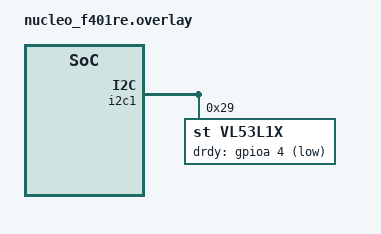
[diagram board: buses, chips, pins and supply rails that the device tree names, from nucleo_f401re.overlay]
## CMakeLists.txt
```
# SPDX-License-Identifier: Apache-2.0

cmake_minimum_required(VERSION 3.13.1)
include($ENV{ZEPHYR_BASE}/cmake/app/boilerplate.cmake NO_POLICY_SCOPE)
project(vl53l1x)

FILE(GLOB app_sources src/*.c)
target_sources(app PRIVATE ${app_sources})
```

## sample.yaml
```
sample:
  name: Sample for MEMS sensors VL53L1X
tests:
  sample.sensor.vl53l1x:
    build_only: true
    depends_on: i2c vl53l1x
    tags: sensors
```

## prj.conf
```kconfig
CONFIG_I2C=y
CONFIG_GPIO=y
CONFIG_SENSOR=y
CONFIG_VL53L1X=y
CONFIG_VL53L1X_PROXIMITY_THRESHOLD=100
#CONFIG_VL53L1X_XSHUT_CONTROL_ENABLE=y
#CONFIG_VL53L1X_TRIGGER_NONE=y
CONFIG_VL53L1X_TRIGGER_OWN_THREAD=y
#CONFIG_VL53L1X_TRIGGER_GLOBAL_THREAD=n


#debug
#CONFIG_DEBUG=y
#CONFIG_LOG=y
#CONFIG_SENSOR_LOG_LEVEL_DBG=y
```

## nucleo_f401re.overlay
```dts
/*
 * Copyright (c) 2019 Peter Bigot Consulting, LLC
 *
 * SPDX-License-Identifier: Apache-2.0
 */

&i2c1 { /* SDA CN5.9=PB9, SCL CN5.10=PB8, INT CN8.3=A2=PA4 */
	vl53l1x@29 {
		compatible = "st,vl53l1x";
		reg = <0x29>;
		label = "VL53L1X";
		drdy-gpios = <&gpioa 4 GPIO_INT_ACTIVE_LOW>;
	};
};
```

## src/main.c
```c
/*
 * Copyright (c) 2017 STMicroelectronics
 *
 * SPDX-License-Identifier: Apache-2.0
 */

#include <zephyr.h>
#include <device.h>
#include <sensor.h>
#include <misc/printk.h>

static void process_sample(struct device *dev)
{
	int ret;
	struct sensor_value value;

	ret = sensor_sample_fetch(dev);

	if (ret) {
		printk("sensor_sample_fetch failed ret %d\n", ret);
		return;
	}

	ret = sensor_channel_get(dev, SENSOR_CHAN_PROX, &value);
	printk("prox is %d\n", value.val1);

	ret = sensor_channel_get(dev,
					SENSOR_CHAN_DISTANCE,
					&value);
	printk("distance is %d.%06dm\n", value.val1, value.val2);
}

static void vl53l1x_handler(struct device *dev,
			   struct sensor_trigger *trig)
{
	process_sample(dev);
}


void main(void)
{
	struct device *dev = device_get_binding(DT_ST_VL53L1X_0_LABEL);

	if (dev == NULL) {
		printk("Could not get VL53L1X device\n");
		return;
	}

	if (IS_ENABLED(CONFIG_VL53L1X_TRIGGER)) {
		struct sensor_trigger trig = {
			.type = SENSOR_TRIG_DATA_READY,
			.chan = SENSOR_CHAN_ALL,
		};
		if (sensor_trigger_set(dev, &trig, vl53l1x_handler) < 0) {
			printk("Cannot configure trigger\n");
			return;
		};
	}

	while (!IS_ENABLED(CONFIG_VL53L1X_TRIGGER)) {
		process_sample(dev);
		k_sleep(1000);
	}
	k_sleep(K_FOREVER);
}
```
